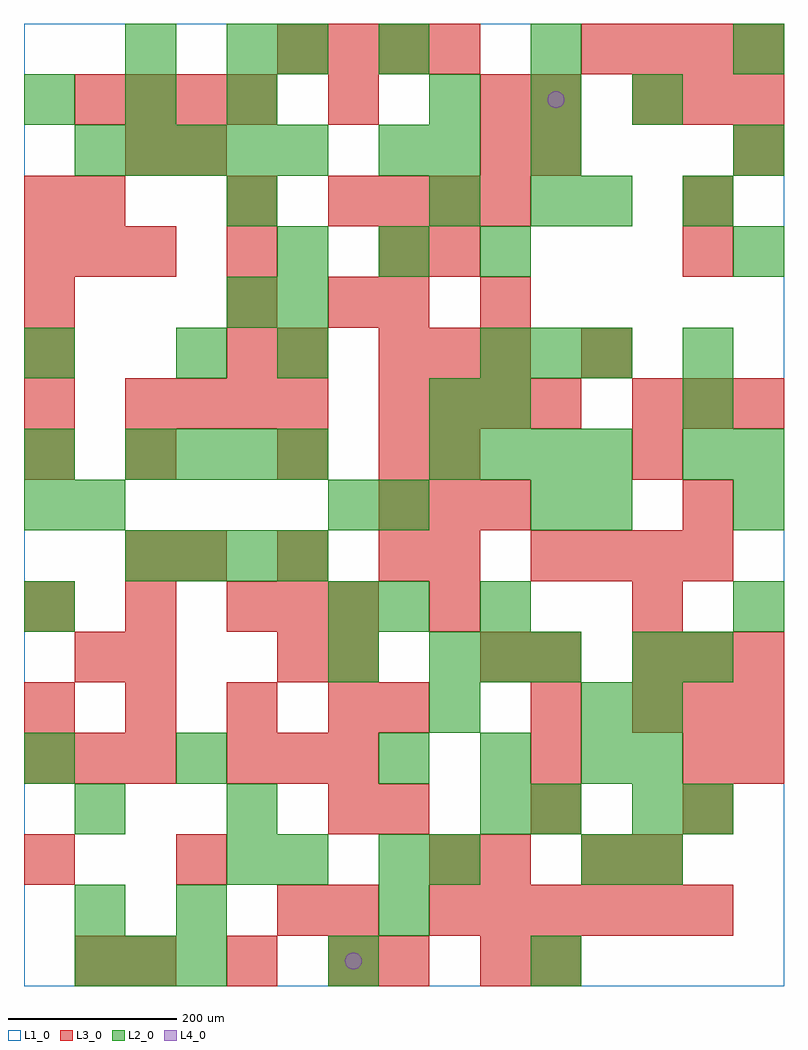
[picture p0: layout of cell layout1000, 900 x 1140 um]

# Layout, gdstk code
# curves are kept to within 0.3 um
import gdstk
lib = gdstk.Library(unit=1e-6, precision=1e-09)
def R(c, l, rs):  # rectangles x0, y0, x1, y1
    for r in rs: c.add(gdstk.rectangle(r[:2], r[2:], *l))
def A(c, l, x, y, w, h, nx, ny, dx, dy):  # array of equal rectangles
    R(c, l, [(x+i*dx, y+j*dy, x+i*dx+w, y+j*dy+h) for i in range(nx) for j in range(ny)])
def P(c, l, *ps):  # polygons
    for p in ps: c.add(gdstk.Polygon(p, *l))
L1_0 = (1, 0)
L2_0 = (2, 0)
L3_0 = (3, 0)
L4_0 = (4, 0)

layout1000 = lib.new_cell('layout1000')
R(layout1000, L1_0, [(0,0,900,1140)])
A(layout1000, L2_0, 60, 0, 60, 60, 3, 1, 60, 0)
A(layout1000, L2_0, 720, 120, 60, 60, 1, 5, 0, 60)
A(layout1000, L2_0, 540, 180, 60, 60, 1, 3, 0, 240)
A(layout1000, L2_0, 600, 180, 60, 60, 1, 3, 0, 360)
A(layout1000, L2_0, 420, 240, 60, 60, 3, 1, 120, 0)
A(layout1000, L2_0, 480, 360, 60, 60, 3, 1, 60, 0)
A(layout1000, L2_0, 120, 480, 60, 60, 4, 2, 60, 120)
A(layout1000, L2_0, 480, 600, 60, 60, 4, 1, 60, 0)
A(layout1000, L2_0, 780, 600, 60, 60, 1, 3, 0, 60)
A(layout1000, L2_0, 540, 720, 60, 60, 3, 1, 60, 0)
A(layout1000, L2_0, 300, 840, 60, 60, 3, 1, 120, 0)
A(layout1000, L2_0, 840, 840, 60, 60, 1, 3, 0, 120)
A(layout1000, L2_0, 60, 960, 60, 60, 5, 1, 60, 0)
A(layout1000, L2_0, 0, 1020, 60, 60, 3, 1, 120, 0)
A(layout1000, L2_0, 480, 1020, 60, 60, 3, 1, 120, 0)
R(layout1000, L2_0, [(360,0,420,60), (600,0,660,60), (60,60,120,120), (180,60,240,120), (420,60,480,120), (240,120,300,180), (300,120,360,180), (420,120,480,180), (480,120,540,180), (660,120,720,180), (60,180,120,240), (240,180,300,240), (780,180,840,240), (0,240,60,300), (180,240,240,300), (480,300,540,360), (660,300,720,360), (360,360,420,420), (780,360,840,420), (0,420,60,480), (360,420,420,480), (420,420,480,480), (840,420,900,480), (0,540,60,600), (60,540,120,600), (360,540,420,600), (420,540,480,600), (660,540,720,600), (840,540,900,600), (0,600,60,660), (840,600,900,660), (480,660,540,720), (0,720,60,780), (180,720,240,780), (300,720,360,780), (240,780,300,840), (300,780,360,840), (240,900,300,960), (480,900,540,960), (660,900,720,960), (780,900,840,960), (420,960,480,1020), (480,960,540,1020), (600,960,660,1020), (120,1080,180,1140), (240,1080,300,1140), (300,1080,360,1140), (420,1080,480,1140), (600,1080,660,1140)])
A(layout1000, L3_0, 120, 0, 60, 60, 3, 1, 120, 0)
A(layout1000, L3_0, 420, 0, 60, 60, 1, 3, 0, 300)
A(layout1000, L3_0, 480, 60, 60, 60, 6, 1, 60, 0)
A(layout1000, L3_0, 420, 180, 60, 60, 3, 1, 180, 0)
A(layout1000, L3_0, 0, 240, 60, 60, 3, 2, 60, 600)
A(layout1000, L3_0, 240, 240, 60, 60, 3, 1, 60, 0)
A(layout1000, L3_0, 600, 240, 60, 60, 1, 3, 0, 60)
A(layout1000, L3_0, 780, 240, 60, 60, 1, 3, 0, 300)
A(layout1000, L3_0, 0, 300, 60, 60, 4, 1, 120, 0)
A(layout1000, L3_0, 720, 300, 60, 60, 3, 2, 60, 60)
A(layout1000, L3_0, 120, 360, 60, 60, 1, 3, 0, 120)
A(layout1000, L3_0, 0, 420, 60, 60, 3, 1, 120, 0)
A(layout1000, L3_0, 180, 480, 60, 60, 3, 1, 120, 0)
A(layout1000, L3_0, 600, 480, 60, 60, 4, 1, 60, 0)
A(layout1000, L3_0, 420, 540, 60, 60, 3, 2, 60, 180)
A(layout1000, L3_0, 0, 600, 60, 60, 1, 4, 0, 60)
A(layout1000, L3_0, 120, 660, 60, 60, 4, 1, 60, 0)
A(layout1000, L3_0, 420, 660, 60, 60, 4, 1, 60, 0)
A(layout1000, L3_0, 720, 660, 60, 60, 3, 2, 60, 360)
A(layout1000, L3_0, 240, 720, 60, 60, 1, 4, 0, 60)
A(layout1000, L3_0, 360, 900, 60, 60, 4, 1, 60, 0)
A(layout1000, L3_0, 60, 1020, 60, 60, 4, 1, 60, 0)
A(layout1000, L3_0, 300, 1080, 60, 60, 4, 1, 60, 0)
A(layout1000, L3_0, 660, 1080, 60, 60, 4, 1, 60, 0)
R(layout1000, L3_0, [(60,0,120,60), (540,0,600,60), (600,0,660,60), (300,60,360,120), (360,60,420,120), (0,120,60,180), (180,120,240,180), (480,120,540,180), (540,120,600,180), (660,120,720,180), (720,120,780,180), (360,180,420,240), (840,240,900,300), (60,360,120,420), (300,360,360,420), (360,360,420,420), (540,360,600,420), (300,420,360,480), (360,420,420,480), (480,420,540,480), (720,420,780,480), (480,480,540,540), (300,600,360,660), (480,600,540,660), (720,600,780,660), (300,720,360,780), (660,720,720,780), (360,780,420,840), (420,780,480,840), (540,780,600,840), (420,840,480,900), (480,840,540,900), (0,900,60,960), (60,900,120,960), (780,900,840,960), (120,960,180,1020), (180,960,240,1020), (540,960,600,1020), (600,960,660,1020), (840,960,900,1020), (360,1020,420,1080), (540,1020,600,1080), (600,1020,660,1080)])
P(layout1000, L4_0, [(400,30),(399.239,33.827),(397.071,37.071),(393.827,39.239),(390,40),(386.173,39.239),(382.929,37.071),(380.761,33.827),(380,30),(380.761,26.173),(382.929,22.929),(386.173,20.761),(390,20),(393.827,20.761),(397.071,22.929),(399.239,26.173)],
  [(640,1050),(639.239,1053.827),(637.071,1057.071),(633.827,1059.239),(630,1060),(626.173,1059.239),(622.929,1057.071),(620.761,1053.827),(620,1050),(620.761,1046.173),(622.929,1042.929),(626.173,1040.761),(630,1040),(633.827,1040.761),(637.071,1042.929),(639.239,1046.173)])

lib.write_gds('layout1000.gds')
